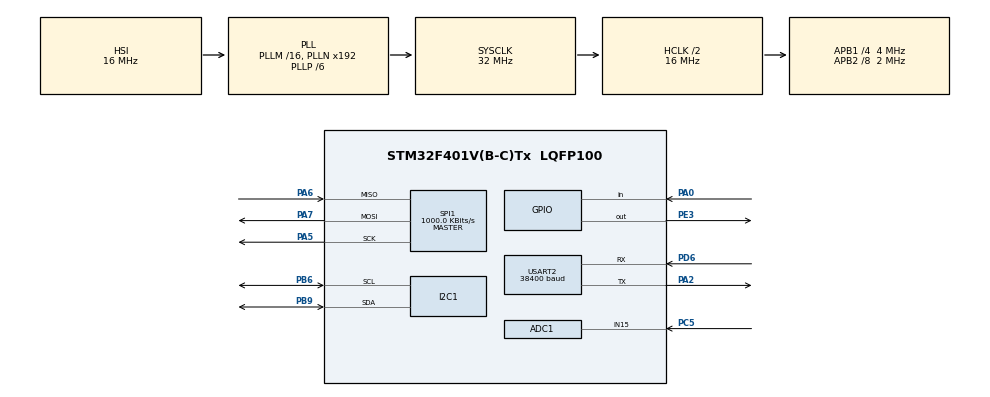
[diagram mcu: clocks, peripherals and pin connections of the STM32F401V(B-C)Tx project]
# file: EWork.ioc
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ADC1.Channel-24\#ChannelRegularConversion=ADC_CHANNEL_15
ADC1.Channel-39\#ChannelRegularConversion=ADC_CHANNEL_15
ADC1.ClockPrescaler=ADC_CLOCK_SYNC_PCLK_DIV2
ADC1.ContinuousConvMode=DISABLE
ADC1.DMAContinuousRequests=DISABLE
ADC1.DataAlign=ADC_DATAALIGN_RIGHT
ADC1.DiscontinuousConvMode=DISABLE
ADC1.EOCSelection=ADC_EOC_SINGLE_CONV
ADC1.EnableAnalogWatchDog=false
ADC1.ExternalTrigConvEdge=ADC_EXTERNALTRIGCONVEDGE_NONE
ADC1.InjNumberOfConversion=0
ADC1.NbrOfConversion=1
ADC1.NbrOfConversionFlag=1
ADC1.Rank-24\#ChannelRegularConversion=1
ADC1.Rank-39\#ChannelRegularConversion=1
ADC1.Resolution=ADC_RESOLUTION_12B
ADC1.SamplingTime-24\#ChannelRegularConversion=ADC_SAMPLETIME_3CYCLES
ADC1.SamplingTime-39\#ChannelRegularConversion=ADC_SAMPLETIME_3CYCLES
ADC1.ScanConvMode=DISABLE
ADC1.master=1
Mcu.Family=STM32F4
Mcu.Name=STM32F401V(B-C)Tx
Mcu.Package=LQFP100
NVIC.PriorityGroup=NVIC_PRIORITYGROUP_4
NVIC.TIM1_UP_TIM10_IRQn=true\:0\:0\:false\:false\:true
PA0-WKUP.Signal=GPIO_Input
PA13.Mode=Serial_Wire
PA13.Signal=SYS_JTMS-SWDIO
PA14.Mode=Serial_Wire
PA14.Signal=SYS_JTCK-SWCLK
PA2.Mode=Asynchronous
PA2.Signal=USART2_TX
PA5.Mode=Full_Duplex_Master
PA5.Signal=SPI1_SCK
PA6.Mode=Full_Duplex_Master
PA6.Signal=SPI1_MISO
PA7.Mode=Full_Duplex_Master
PA7.Signal=SPI1_MOSI
PB6.Mode=I2C
PB6.Signal=I2C1_SCL
PB9.Mode=I2C
PB9.Signal=I2C1_SDA
PC5.Signal=ADCx_IN15
PD6.Mode=Asynchronous
PD6.Signal=USART2_RX
PE3.GPIO_Speed=GPIO_SPEED_FREQ_HIGH
PE3.PinState=GPIO_PIN_SET
PE3.Signal=GPIO_Output
ProjectManager.HeapSize=0x200
ProjectManager.StackSize=0x400
ProjectManager.TargetToolchain=SW4STM32
RCC.48MHZClocksFreq_Value=48000000
RCC.AHBCLKDivider=RCC_SYSCLK_DIV2
RCC.AHBFreq_Value=16000000
RCC.APB1CLKDivider=RCC_HCLK_DIV4
RCC.APB1Freq_Value=4000000
RCC.APB1TimFreq_Value=8000000
RCC.APB2CLKDivider=RCC_HCLK_DIV8
RCC.APB2Freq_Value=2000000
RCC.APB2TimFreq_Value=4000000
RCC.CortexFreq_Value=16000000
RCC.HCLKFreq_Value=16000000
RCC.HSE_VALUE=8000000
RCC.HSI_VALUE=16000000
RCC.LSE_VALUE=32768
RCC.PLLP=RCC_PLLP_DIV6
RCC.SYSCLKFreq_VALUE=32000000
RCC.SYSCLKSource=RCC_SYSCLKSOURCE_PLLCLK
RCC.VCOOutputFreq_Value=192000000
SH.ADCx_IN15.0=ADC1_IN15,IN15
SPI1.BaudRatePrescaler=SPI_BAUDRATEPRESCALER_2
SPI1.CalculateBaudRate=1000.0 KBits/s
SPI1.Mode=SPI_MODE_MASTER
TIM10.Period=159
TIM10.Prescaler=19
USART2.BaudRate=38400
VP_TIM10_VS_ClockSourceINT.Mode=Enable_Timer
board=EWork

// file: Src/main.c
/**
  ******************************************************************************
  * File Name          : main.c
  * Description        : Main program body
  ******************************************************************************
  *
  * COPYRIGHT(c) 2016 STMicroelectronics
  *
  * Redistribution and use in source and binary forms, with or without modification,
  * are permitted provided that the following conditions are met:
  *   1. Redistributions of source code must retain the above copyright notice,
  *      this list of conditions and the following disclaimer.
  *   2. Redistributions in binary form must reproduce the above copyright notice,
  *      this list of conditions and the following disclaimer in the documentation
  *      and/or other materials provided with the distribution.
  *   3. Neither the name of STMicroelectronics nor the names of its contributors
  *      may be used to endorse or promote products derived from this software
  *      without specific prior written permission.
  *
  * THIS SOFTWARE IS PROVIDED BY THE COPYRIGHT HOLDERS AND CONTRIBUTORS "AS IS"
  * AND ANY EXPRESS OR IMPLIED WARRANTIES, INCLUDING, BUT NOT LIMITED TO, THE
  * IMPLIED WARRANTIES OF MERCHANTABILITY AND FITNESS FOR A PARTICULAR PURPOSE ARE
  * DISCLAIMED. IN NO EVENT SHALL THE COPYRIGHT HOLDER OR CONTRIBUTORS BE LIABLE
  * FOR ANY DIRECT, INDIRECT, INCIDENTAL, SPECIAL, EXEMPLARY, OR CONSEQUENTIAL
  * DAMAGES (INCLUDING, BUT NOT LIMITED TO, PROCUREMENT OF SUBSTITUTE GOODS OR
  * SERVICES; LOSS OF USE, DATA, OR PROFITS; OR BUSINESS INTERRUPTION) HOWEVER
  * CAUSED AND ON ANY THEORY OF LIABILITY, WHETHER IN CONTRACT, STRICT LIABILITY,
  * OR TORT (INCLUDING NEGLIGENCE OR OTHERWISE) ARISING IN ANY WAY OUT OF THE USE
  * OF THIS SOFTWARE, EVEN IF ADVISED OF THE POSSIBILITY OF SUCH DAMAGE.
  *
  ******************************************************************************
  */
#include "stm32f4xx_hal.h"

/* USER CODE BEGIN Includes */
#include <math.h>
#include "I2C_SPI.h"
#include "pos_calc.h"
/* USER CODE END Includes */

ADC_HandleTypeDef hadc1;

I2C_HandleTypeDef hi2c1;

SPI_HandleTypeDef hspi1;

TIM_HandleTypeDef htim10;

UART_HandleTypeDef huart2;

/* USER CODE BEGIN PV */
/* Private variables ---------------------------------------------------------*/
#define GYRO_CORRECT_ARRAY_NUM 7
#define DATA_TO_SEND_SIZE 22
int16_t DataGetADC = 0;

int16_t DataGetXAxisAcc = 0;
int16_t DataGetYAxisAcc = 0;
int16_t DataGetZAxisAcc = 0;

int16_t DataGetXAxis = 0;
int16_t DataGetYAxis = 0;
int16_t DataGetZAxis = 0;

int16_t * pDataGetXAxis = &DataGetXAxis;
int16_t * pDataGetYAxis = &DataGetYAxis;
int16_t * pDataGetZAxis = &DataGetZAxis;

HandPos hand={0};
volatile int32_t calcValue = 0;

float ZAverage = 0;
float XAverage = 0;

static double AngleXAxisAcc = 0;
static double AngleYAxisAcc = 0;
static double AngleZAxisAcc = 0;

static double AngleXAxisGyro = 0;
static double AngleYAxisGyro = 0;
static double AngleZAxisGyro = 0;

/* USER CODE END PV */

void SystemClock_Config(void);
void Error_Handler(void);
static void MX_GPIO_Init(void);
static void MX_I2C1_Init(void);
static void MX_SPI1_Init(void);
static void MX_TIM10_Init(void);
static void MX_USART2_UART_Init(void);
static void MX_ADC1_Init(void);

/* USER CODE BEGIN PFP */
/* Private function prototypes -----------------------------------------------*/
void SystemClock_Config(void);
void Error_Handler(void);
static void MX_GPIO_Init(void);
static void MX_I2C1_Init(void);
static void MX_SPI1_Init(void);

void HAL_TIM_PeriodElapsedCallback(TIM_HandleTypeDef *htim){
 //if(htim->Instance == TIM10){ // Jeżeli przerwanie pochodzi od timera 10
	fillHandPos(&hand,DataGetXAxisAcc,DataGetYAxisAcc,DataGetZAxisAcc,
				*pDataGetXAxis,*pDataGetYAxis,*pDataGetZAxis, &hadc1);
	AngleXAxisGyro = hand.angleGyroX;
	AngleYAxisGyro = hand.angleGyroY;
	AngleZAxisGyro = hand.angleGyroZ;

	AngleXAxisAcc = hand.angleAccX;
	AngleYAxisAcc = hand.angleAccY;
	AngleZAxisAcc = hand.angleAccZ;
 }
//}
/* USER CODE END PFP */

int main(void)
{

  /* MCU Configuration----------------------------------------------------------*/

  /* Reset of all peripherals, Initializes the Flash interface and the Systick. */
  HAL_Init();

  /* Configure the system clock */
  SystemClock_Config();

  /* Initialize all configured peripherals */
  MX_GPIO_Init();
  MX_I2C1_Init();
  MX_SPI1_Init();
  MX_TIM10_Init();
  MX_USART2_UART_Init();
  MX_ADC1_Init();

  /* USER CODE BEGIN 2 */
  HAL_TIM_Base_Start_IT(&htim10);
  initGyroSPI(&hspi1);
  initAccI2C(&hi2c1);

//  int16_t * pDataGetXAxis = &DataGetXAxis;
//  int16_t * pDataGetYAxis = &DataGetYAxis;
//  int16_t * pDataGetZAxis = &DataGetZAxis;

  int32_t ZCounter = 0;
  int32_t XCounter = 0;

  char charToSend[DATA_TO_SEND_SIZE];
  char charADC[5];

uint8_t check_counter = 0;
uint16_t blt_counter = 0;
for(int i=0;i<22;i++){
	 charToSend[i]=(char)(i+65);
}
float AccPosArr[GYRO_CORRECT_ARRAY_NUM];
for(int i =0;i<GYRO_CORRECT_ARRAY_NUM;i++)
	AccPosArr[i]=0;
  /* USER CODE END 2 */

  /* Infinite loop */
  while (1)
  {

  /* USER CODE BEGIN 3 */
	 getPositionDataACC(&hi2c1, &DataGetXAxisAcc, &DataGetYAxisAcc, &DataGetZAxisAcc,100);
	 getPositionDataSPI(&hspi1, pDataGetXAxis, pDataGetYAxis, pDataGetZAxis,100);

	 fillDataToSend(charToSend,DATA_TO_SEND_SIZE, &hand);

	 if(!(blt_counter%3))
	 HAL_UART_Transmit(&huart2,charToSend,DATA_TO_SEND_SIZE,50);
	 blt_counter++;

  }
  /* USER CODE END 3 */

}

/** System Clock Configuration
*/
void SystemClock_Config(void)
{

  RCC_OscInitTypeDef RCC_OscInitStruct;
  RCC_ClkInitTypeDef RCC_ClkInitStruct;

  __HAL_RCC_PWR_CLK_ENABLE();

  __HAL_PWR_VOLTAGESCALING_CONFIG(PWR_REGULATOR_VOLTAGE_SCALE2);

  RCC_OscInitStruct.OscillatorType = RCC_OSCILLATORTYPE_HSI;
  RCC_OscInitStruct.HSIState = RCC_HSI_ON;
  RCC_OscInitStruct.HSICalibrationValue = 16;
  RCC_OscInitStruct.PLL.PLLState = RCC_PLL_ON;
  RCC_OscInitStruct.PLL.PLLSource = RCC_PLLSOURCE_HSI;
  RCC_OscInitStruct.PLL.PLLM = 16;
  RCC_OscInitStruct.PLL.PLLN = 192;
  RCC_OscInitStruct.PLL.PLLP = RCC_PLLP_DIV6;
  RCC_OscInitStruct.PLL.PLLQ = 4;
  if (HAL_RCC_OscConfig(&RCC_OscInitStruct) != HAL_OK)
  {
    Error_Handler();
  }

  RCC_ClkInitStruct.ClockType = RCC_CLOCKTYPE_HCLK|RCC_CLOCKTYPE_SYSCLK
                              |RCC_CLOCKTYPE_PCLK1|RCC_CLOCKTYPE_PCLK2;
  RCC_ClkInitStruct.SYSCLKSource = RCC_SYSCLKSOURCE_PLLCLK;
  RCC_ClkInitStruct.AHBCLKDivider = RCC_SYSCLK_DIV2;
  RCC_ClkInitStruct.APB1CLKDivider = RCC_HCLK_DIV4;
  RCC_ClkInitStruct.APB2CLKDivider = RCC_HCLK_DIV8;
  if (HAL_RCC_ClockConfig(&RCC_ClkInitStruct, FLASH_LATENCY_0) != HAL_OK)
  {
    Error_Handler();
  }

  HAL_SYSTICK_Config(HAL_RCC_GetHCLKFreq()/1000);

  HAL_SYSTICK_CLKSourceConfig(SYSTICK_CLKSOURCE_HCLK);

  /* SysTick_IRQn interrupt configuration */
  HAL_NVIC_SetPriority(SysTick_IRQn, 0, 0);
}

/* ADC1 init function */
static void MX_ADC1_Init(void)
{

  ADC_ChannelConfTypeDef sConfig;

    /**Configure the global features of the ADC (Clock, Resolution, Data Alignment and number of conversion)
    */
  hadc1.Instance = ADC1;
  hadc1.Init.ClockPrescaler = ADC_CLOCK_SYNC_PCLK_DIV2;
  hadc1.Init.Resolution = ADC_RESOLUTION_12B;
  hadc1.Init.ScanConvMode = DISABLE;
  hadc1.Init.ContinuousConvMode = DISABLE;
  hadc1.Init.DiscontinuousConvMode = DISABLE;
  hadc1.Init.ExternalTrigConvEdge = ADC_EXTERNALTRIGCONVEDGE_NONE;
  hadc1.Init.DataAlign = ADC_DATAALIGN_RIGHT;
  hadc1.Init.NbrOfConversion = 1;
  hadc1.Init.DMAContinuousRequests = DISABLE;
  hadc1.Init.EOCSelection = ADC_EOC_SINGLE_CONV;
  if (HAL_ADC_Init(&hadc1) != HAL_OK)
  {
    Error_Handler();
  }

    /**Configure for the selected ADC regular channel its corresponding rank in the sequencer and its sample time.
    */
  sConfig.Channel = ADC_CHANNEL_15;
  sConfig.Rank = 1;
  sConfig.SamplingTime = ADC_SAMPLETIME_3CYCLES;
  if (HAL_ADC_ConfigChannel(&hadc1, &sConfig) != HAL_OK)
  {
    Error_Handler();
  }

}

/* I2C1 init function */
static void MX_I2C1_Init(void)
{

  hi2c1.Instance = I2C1;
  hi2c1.Init.ClockSpeed = 100000;
  hi2c1.Init.DutyCycle = I2C_DUTYCYCLE_2;
  hi2c1.Init.OwnAddress1 = 0;
  hi2c1.Init.AddressingMode = I2C_ADDRESSINGMODE_7BIT;
  hi2c1.Init.DualAddressMode = I2C_DUALADDRESS_DISABLE;
  hi2c1.Init.OwnAddress2 = 0;
  hi2c1.Init.GeneralCallMode = I2C_GENERALCALL_DISABLE;
  hi2c1.Init.NoStretchMode = I2C_NOSTRETCH_DISABLE;
  if (HAL_I2C_Init(&hi2c1) != HAL_OK)
  {
    Error_Handler();
  }

}

/* SPI1 init function */
static void MX_SPI1_Init(void)
{

  hspi1.Instance = SPI1;
  hspi1.Init.Mode = SPI_MODE_MASTER;
  hspi1.Init.Direction = SPI_DIRECTION_2LINES;
  hspi1.Init.DataSize = SPI_DATASIZE_8BIT;
  hspi1.Init.CLKPolarity = SPI_POLARITY_LOW;
  hspi1.Init.CLKPhase = SPI_PHASE_1EDGE;
  hspi1.Init.NSS = SPI_NSS_SOFT;
  hspi1.Init.BaudRatePrescaler = SPI_BAUDRATEPRESCALER_2;
  hspi1.Init.FirstBit = SPI_FIRSTBIT_MSB;
  hspi1.Init.TIMode = SPI_TIMODE_DISABLE;
  hspi1.Init.CRCCalculation = SPI_CRCCALCULATION_DISABLE;
  hspi1.Init.CRCPolynomial = 10;
  if (HAL_SPI_Init(&hspi1) != HAL_OK)
  {
    Error_Handler();
  }

}

/* TIM10 init function */
static void MX_TIM10_Init(void)
{

  htim10.Instance = TIM10;
  htim10.Init.Prescaler = 19;
  htim10.Init.CounterMode = TIM_COUNTERMODE_UP;
  htim10.Init.Period = 159;
  htim10.Init.ClockDivision = TIM_CLOCKDIVISION_DIV1;
  if (HAL_TIM_Base_Init(&htim10) != HAL_OK)
  {
    Error_Handler();
  }

}

/* USART2 init function */
static void MX_USART2_UART_Init(void)
{

  huart2.Instance = USART2;
  huart2.Init.BaudRate = 38400;
  huart2.Init.WordLength = UART_WORDLENGTH_8B;
  huart2.Init.StopBits = UART_STOPBITS_1;
  huart2.Init.Parity = UART_PARITY_NONE;
  huart2.Init.Mode = UART_MODE_TX_RX;
  huart2.Init.HwFlowCtl = UART_HWCONTROL_NONE;
  huart2.Init.OverSampling = UART_OVERSAMPLING_16;
  if (HAL_UART_Init(&huart2) != HAL_OK)
  {
    Error_Handler();
  }

}

/** Configure pins as
        * Analog
        * Input
        * Output
        * EVENT_OUT
        * EXTI
*/
static void MX_GPIO_Init(void)
{

  GPIO_InitTypeDef GPIO_InitStruct;

  /* GPIO Ports Clock Enable */
  __HAL_RCC_GPIOE_CLK_ENABLE();
  __HAL_RCC_GPIOA_CLK_ENABLE();
  __HAL_RCC_GPIOC_CLK_ENABLE();
  __HAL_RCC_GPIOD_CLK_ENABLE();
  __HAL_RCC_GPIOB_CLK_ENABLE();

  /*Configure GPIO pin Output Level */
  HAL_GPIO_WritePin(GPIOE, GPIO_PIN_3, GPIO_PIN_SET);

  /*Configure GPIO pin : PE3 */
  GPIO_InitStruct.Pin = GPIO_PIN_3;
  GPIO_InitStruct.Mode = GPIO_MODE_OUTPUT_PP;
  GPIO_InitStruct.Pull = GPIO_NOPULL;
  GPIO_InitStruct.Speed = GPIO_SPEED_FREQ_HIGH;
  HAL_GPIO_Init(GPIOE, &GPIO_InitStruct);

  /*Configure GPIO pin : PA0 */
  GPIO_InitStruct.Pin = GPIO_PIN_0;
  GPIO_InitStruct.Mode = GPIO_MODE_INPUT;
  GPIO_InitStruct.Pull = GPIO_NOPULL;
  HAL_GPIO_Init(GPIOA, &GPIO_InitStruct);

}

/* USER CODE BEGIN 4 */

//getRadDegPerSec(char * mode,int16_t *getVal){
//	HAL_GPIO_WritePin(GPIOE,GPIO_PIN_3,RESET);
//	HAL_SPI_Transmit(&hspi1,getVal + 2,1,100);
//	HAL_SPI_Receive(&hspi1,getVal,1,100);
//	HAL_GPIO_WritePin(GPIOE,GPIO_PIN_3,SET);
//}
/* USER CODE END 4 */

void Error_Handler(void)
{
  while(1)
  {
  }
}

/************************ (C) COPYRIGHT STMicroelectronics *****END OF FILE****/
